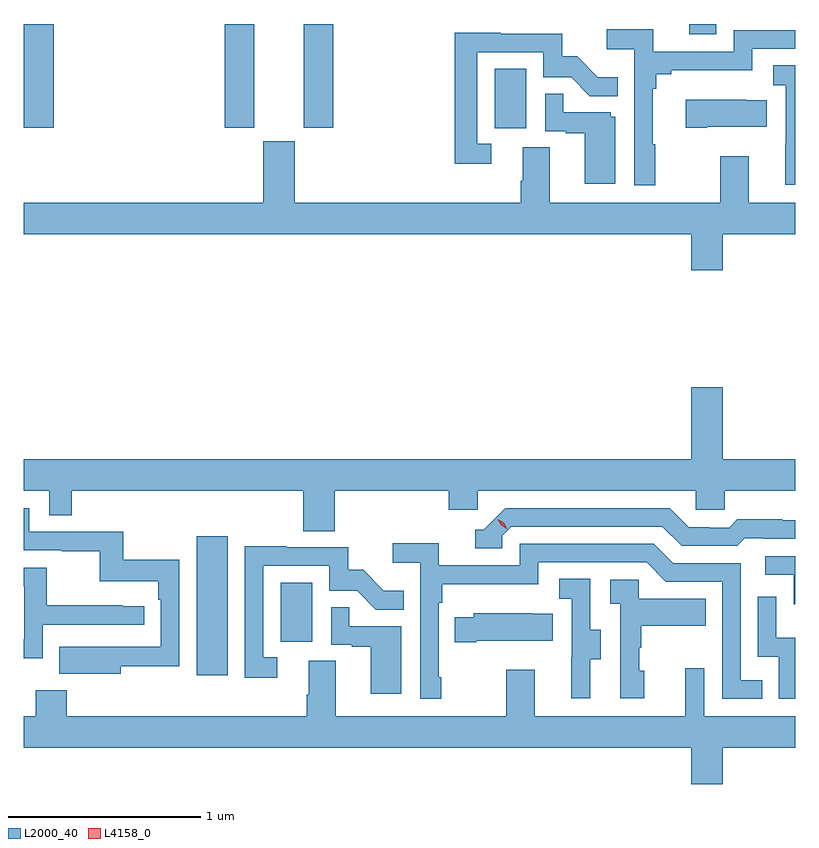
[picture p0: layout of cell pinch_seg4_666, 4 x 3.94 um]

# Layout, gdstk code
import gdstk
lib = gdstk.Library(unit=1e-6, precision=1e-09)
def R(c, l, rs):  # rectangles x0, y0, x1, y1
    for r in rs: c.add(gdstk.rectangle(r[:2], r[2:], *l))
def P(c, l, *ps):  # polygons
    for p in ps: c.add(gdstk.Polygon(p, *l))
L2000_40 = (2000, 40)
L4158_0 = (4158, 0)

pinch_seg4_666 = lib.new_cell('pinch_seg4_666')
R(pinch_seg4_666, L2000_40, [(1121.483,758.568,1121.644,759.289), (1121.918,758.742,1122.082,759.049), (1123.028,761.406,1123.192,761.713), (1120.587,761.409,1120.742,761.946), (1121.63,761.409,1121.782,761.946), (1122.038,761.409,1122.191,761.946), (1124.039,761.892,1124.178,761.946)])
P(pinch_seg4_666, L2000_40, [(1123.861,761.321),(1123.849,761.321),(1123.849,761.609),(1123.868,761.609),(1123.868,761.686),(1123.945,761.686),(1123.945,761.705),(1124.364,761.705),(1124.364,761.817),(1124.587,761.817),(1124.587,761.913),(1124.268,761.913),(1124.268,761.802),(1123.85,761.802),(1123.85,761.918),(1123.611,761.918),(1123.611,761.816),(1123.752,761.816),(1123.752,761.109),(1123.861,761.109)],
  [(1123.012,761.325),(1122.939,761.325),(1122.939,761.799),(1123.281,761.799),(1123.281,761.67),(1123.425,761.67),(1123.523,761.572),(1123.667,761.572),(1123.667,761.671),(1123.563,761.671),(1123.456,761.778),(1123.38,761.778),(1123.38,761.895),(1123.061,761.895),(1123.061,761.9),(1122.823,761.9),(1122.823,761.22),(1123.012,761.22)],
  [(1124.587,761.732),(1124.475,761.732),(1124.475,761.629),(1124.538,761.629),(1124.538,761.325),(1124.537,761.325),(1124.537,761.112),(1124.587,761.112)],
  [(1123.654,761.466),(1123.632,761.466),(1123.632,761.487),(1123.385,761.487),(1123.385,761.585),(1123.29,761.585),(1123.29,761.391),(1123.397,761.391),(1123.397,761.379),(1123.496,761.379),(1123.496,761.118),(1123.654,761.118)],
  [(1124.131,761.414),(1124.441,761.414),(1124.441,761.551),(1124.333,761.551),(1124.333,761.554),(1124.019,761.554),(1124.019,761.407),(1124.131,761.407)],
  [(1124.212,760.856),(1124.587,760.856),(1124.587,761.02),(1124.347,761.02),(1124.347,761.26),(1124.2,761.26),(1124.2,761.02),(1123.315,761.02),(1123.315,761.306),(1123.175,761.306),(1123.175,761.132),(1123.163,761.132),(1123.163,761.02),(1121.992,761.02),(1121.992,761.337),(1121.828,761.337),(1121.828,761.02),(1120.587,761.02),(1120.587,760.856),(1124.048,760.856),(1124.048,760.668),(1124.212,760.668)],
  [(1122.2,759.524),(1122.791,759.524),(1122.791,759.426),(1122.942,759.426),(1122.942,759.524),(1124.073,759.524),(1124.073,759.426),(1124.223,759.426),(1124.223,759.524),(1124.587,759.524),(1124.587,759.688),(1124.212,759.688),(1124.212,760.063),(1124.048,760.063),(1124.048,759.688),(1120.587,759.688),(1120.587,759.524),(1120.719,759.524),(1120.719,759.397),(1120.835,759.397),(1120.835,759.524),(1122.035,759.524),(1122.035,759.316),(1122.2,759.316)],
  [(1123.068,759.291),(1123.116,759.339),(1123.899,759.339),(1123.998,759.24),(1124.287,759.24),(1124.326,759.279),(1124.425,759.279),(1124.425,759.276),(1124.587,759.276),(1124.587,759.373),(1124.52,759.373),(1124.52,759.376),(1124.287,759.376),(1124.245,759.333),(1124.142,759.333),(1124.142,759.336),(1124.035,759.336),(1123.936,759.435),(1123.083,759.435),(1122.972,759.324),(1122.929,759.324),(1122.929,759.228),(1123.068,759.228)],
  [(1121.089,758.614),(1121.394,758.614),(1121.394,759.166),(1121.101,759.166),(1121.101,759.312),(1120.614,759.312),(1120.614,759.435),(1120.587,759.435),(1120.587,759.216),(1120.783,759.216),(1120.783,759.211),(1120.98,759.211),(1120.98,759.056),(1121.285,759.056),(1121.285,758.96),(1121.298,758.96),(1121.298,758.715),(1120.985,758.715),(1120.985,758.716),(1120.771,758.716),(1120.771,758.576),(1121.089,758.576)],
  [(1122.751,758.557),(1122.738,758.557),(1122.738,758.945),(1122.758,758.945),(1122.758,759.041),(1123.254,759.041),(1123.254,759.153),(1123.818,759.153),(1123.917,759.054),(1124.208,759.054),(1124.208,758.445),(1124.417,758.445),(1124.417,758.541),(1124.304,758.541),(1124.304,759.15),(1123.954,759.15),(1123.855,759.249),(1123.158,759.249),(1123.158,759.138),(1122.74,759.138),(1122.74,759.254),(1122.501,759.254),(1122.501,759.152),(1122.642,759.152),(1122.642,758.445),(1122.751,758.445)],
  [(1121.902,758.661),(1121.829,758.661),(1121.829,759.135),(1122.171,759.135),(1122.171,759.006),(1122.315,759.006),(1122.413,758.908),(1122.557,758.908),(1122.557,759.007),(1122.453,759.007),(1122.346,759.114),(1122.27,759.114),(1122.27,759.231),(1121.951,759.231),(1121.951,759.236),(1121.733,759.236),(1121.733,758.556),(1121.902,758.556)],
  [(1124.587,759.186),(1124.433,759.186),(1124.433,759.09),(1124.58,759.09),(1124.58,758.937),(1124.587,758.937)],
  [(1120.686,758.829),(1121.212,758.829),(1121.212,758.925),(1121.099,758.925),(1121.099,758.93),(1120.706,758.93),(1120.706,759.126),(1120.587,759.126),(1120.587,759.03),(1120.59,759.03),(1120.59,758.754),(1120.587,758.754),(1120.587,758.657),(1120.686,758.657)],
  [(1123.525,758.65),(1123.579,758.65),(1123.579,758.805),(1123.524,758.805),(1123.524,759.068),(1123.365,759.068),(1123.365,758.965),(1123.428,758.965),(1123.428,758.661),(1123.427,758.661),(1123.427,758.448),(1123.525,758.448)],
  [(1123.804,758.592),(1123.779,758.592),(1123.779,758.711),(1123.789,758.711),(1123.789,758.825),(1124.123,758.825),(1124.123,758.965),(1123.776,758.965),(1123.776,759.063),(1123.629,759.063),(1123.629,758.939),(1123.68,758.939),(1123.68,758.448),(1123.804,758.448)],
  [(1124.587,758.762),(1124.49,758.762),(1124.49,758.974),(1124.394,758.974),(1124.394,758.664),(1124.502,758.664),(1124.502,758.445),(1124.587,758.445)],
  [(1122.544,758.823),(1122.275,758.823),(1122.275,758.921),(1122.18,758.921),(1122.18,758.727),(1122.287,758.727),(1122.287,758.715),(1122.386,758.715),(1122.386,758.472),(1122.544,758.472)],
  [(1122.934,758.747),(1123.331,758.747),(1123.331,758.887),(1123.223,758.887),(1123.223,758.89),(1122.921,758.89),(1122.921,758.869),(1122.823,758.869),(1122.823,758.74),(1122.934,758.74)],
  [(1124.212,758.192),(1124.587,758.192),(1124.587,758.356),(1124.115,758.356),(1124.115,758.605),(1124.018,758.605),(1124.018,758.356),(1123.237,758.356),(1123.237,758.596),(1123.09,758.596),(1123.09,758.356),(1122.205,758.356),(1122.205,758.642),(1122.065,758.642),(1122.065,758.468),(1122.053,758.468),(1122.053,758.356),(1120.808,758.356),(1120.808,758.491),(1120.648,758.491),(1120.648,758.356),(1120.587,758.356),(1120.587,758.192),(1124.048,758.192),(1124.048,758.004),(1124.212,758.004)])
P(pinch_seg4_666, L4158_0, [(1123.093,759.326),(1123.062,759.345),(1123.046,759.378),(1123.046,759.378),(1123.046,759.378),(1123.077,759.359),(1123.093,759.326),(1123.093,759.326)])

lib.write_gds('pinch_seg4_666.gds')
